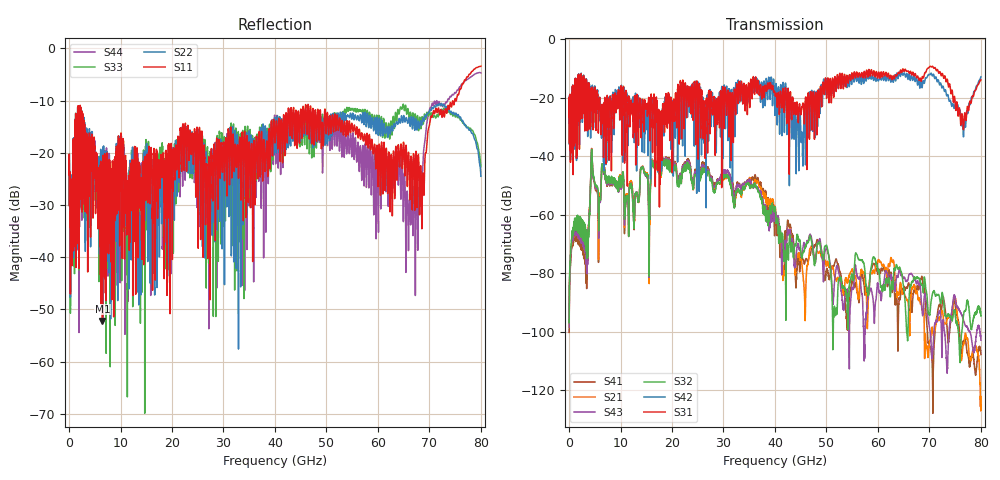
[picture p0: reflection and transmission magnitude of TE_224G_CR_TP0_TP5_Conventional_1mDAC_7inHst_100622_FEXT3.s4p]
!! Reference: tracy_3df_01_2211
!! CHANNEL DESCRIPTION: TP0_TP5 CR Channel using 1meter DAC, Conventional 7.6dB Host
!! MODEL DESCRIPTION: s4p, FEXT3
!! CONNECTOR DESCRIPTION: OSFP 200G SMT
!! CABLE DESCRIPTION: 1meter 26AWG Cable
!! MODEL STATUS: Developmental
!! PORT DEFINITIONS:
!! Port  1  ----->  Side A  Side B  <-----  Port  2
!! Port  3  ----->  Side A  Side B  <-----  Port  4
# Hz S MA R 50
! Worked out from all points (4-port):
!   8000 points, 10 MHz to 80 GHz, reference 50 ohm
!   strongest paths, dB at 10 MHz, 20.01 GHz, 40.01 GHz, 60.01 GHz, 80 GHz:
!     S31: -26.6, -27.0, -18.7, -12.4, -13.9
!     S42: -26.6, -21.5, -24.5, -14.1, -12.9
!     S32: -96.9, -45.3, -57.6, -78.7, -94.6
!     S43: -98.4, -44.4, -59.9, -83.6, -102.9
!     S21: -98.4, -44.5, -57.3, -75.6, -125.0
!     S41: -100.2, -43.6, -62.4, -80.2, -107.8
!   lowest |S11| = -52.2 dB at 6.49 GHz (marker M1), VSWR 1.00, Z = 50.1 + j0.232 ohm
!   |S11| at or under -10 dB: start of sweep to 74.9 GHz; 75.12458 GHz to 75.2282 GHz (103.6 MHz wide, 0.138 % of centre)
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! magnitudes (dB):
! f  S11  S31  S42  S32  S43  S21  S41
! 10 MHz  -24.2  -26.6  -26.6  -96.9  -98.4  -98.4  -100.2
! 6.49 GHz  -52.2  -25.3  -25.7  -43.3  -43.5  -43.5  -43.8
! 36.37 GHz  -16.9  -15.2  -14.1  -50.7  -50.9  -49.2  -48.5
! 46.36 GHz  -11.5  -20.1  -27.6  -69.2  -68.9  -77.0  -76.1
! 65.74 GHz  -25.8  -10.9  -13.0  -102.5  -82.5  -88.9  -84.8
! 76.68 GHz  -6.5  -29.2  -31.5  -93.7  -96.3  -104.3  -103.4
! 80 GHz  -3.4  -13.9  -12.9  -94.6  -102.9  -125.0  -107.8
